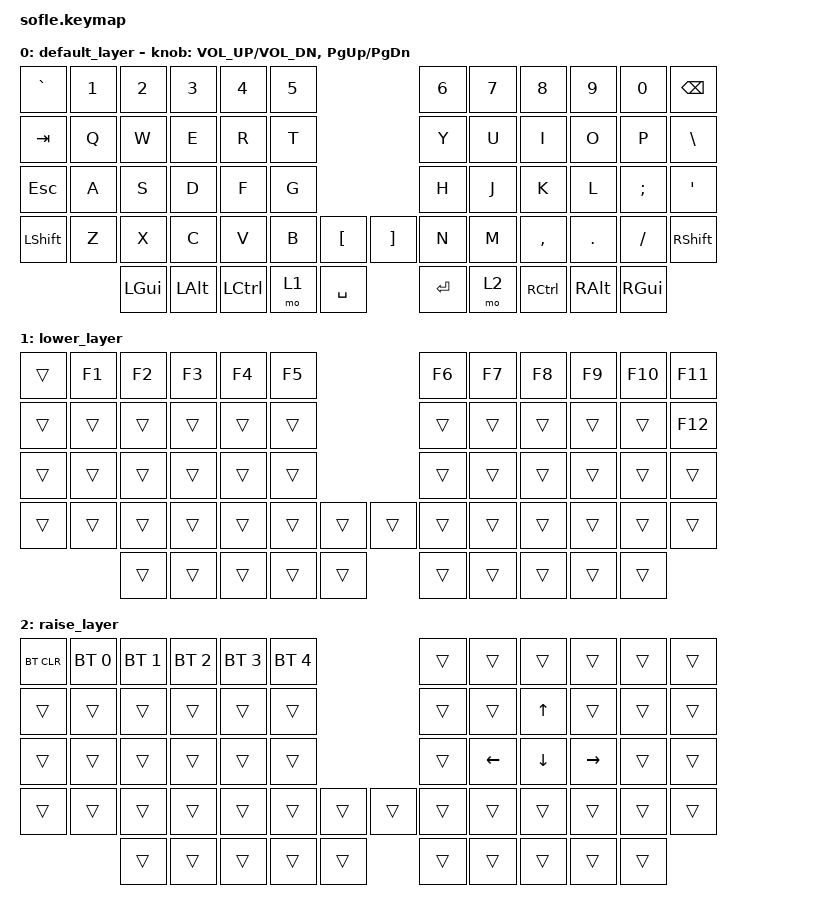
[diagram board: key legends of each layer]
#include <behaviors.dtsi>
#include <dt-bindings/zmk/keys.h>
#include <dt-bindings/zmk/bt.h>

/ {
    keymap {
        compatible = "zmk,keymap";

        default_layer {
            bindings = <
&kp GRAVE  &kp N1  &kp N2  &kp N3  &kp N4  &kp N5                      &kp N6  &kp N7  &kp N8     &kp N9   &kp N0    &kp BSPC
&kp TAB    &kp Q   &kp W   &kp E   &kp R   &kp T                       &kp Y   &kp U   &kp I      &kp O    &kp P     &kp BSLH
&kp ESC    &kp A   &kp S   &kp D   &kp F   &kp G                       &kp H   &kp J   &kp K      &kp L    &kp SEMI  &kp SQT
&kp LSHFT  &kp Z   &kp X   &kp C   &kp V   &kp B   &kp LBKT  &kp RBKT  &kp N   &kp M   &kp COMMA  &kp DOT  &kp FSLH  &kp RSHFT
                 &kp LGUI  &kp LALT  &kp LCTRL  &mo 1  &kp SPACE  &kp RET  &mo 2  &kp RCTRL  &kp RALT  &kp RGUI
            >;

            sensor-bindings = <&inc_dec_kp C_VOL_UP C_VOL_DN &inc_dec_kp PG_UP PG_DN>;
        };

        lower_layer {
            bindings = <
&trans  &kp F1  &kp F2  &kp F3  &kp F4  &kp F5                  &kp F6  &kp F7  &kp F8  &kp F9  &kp F10  &kp F11
&trans  &trans  &trans  &trans  &trans  &trans                  &trans  &trans  &trans  &trans  &trans   &kp F12
&trans  &trans  &trans  &trans  &trans  &trans                  &trans  &trans  &trans  &trans  &trans   &trans
&trans  &trans  &trans  &trans  &trans  &trans  &trans  &trans  &trans  &trans  &trans  &trans  &trans   &trans
                &trans  &trans  &trans  &trans  &trans  &trans  &trans  &trans  &trans  &trans
            >;
        };

        raise_layer {
            bindings = <
&bt BT_CLR  &bt BT_SEL 0  &bt BT_SEL 1  &bt BT_SEL 2  &bt BT_SEL 3  &bt BT_SEL 4                  &trans  &trans  &trans  &trans  &trans  &trans
&trans      &trans        &trans        &trans        &trans        &trans                        &trans  &trans  &kp UP  &trans  &trans  &trans
&trans      &trans        &trans        &trans        &trans        &trans                        &trans  &kp LEFT  &kp DOWN  &kp RIGHT  &trans  &trans
&trans      &trans        &trans        &trans        &trans        &trans        &trans  &trans  &trans  &trans  &trans  &trans  &trans  &trans
                          &trans        &trans        &trans        &trans        &trans  &trans  &trans  &trans  &trans  &trans
            >;
        };
    };
};
